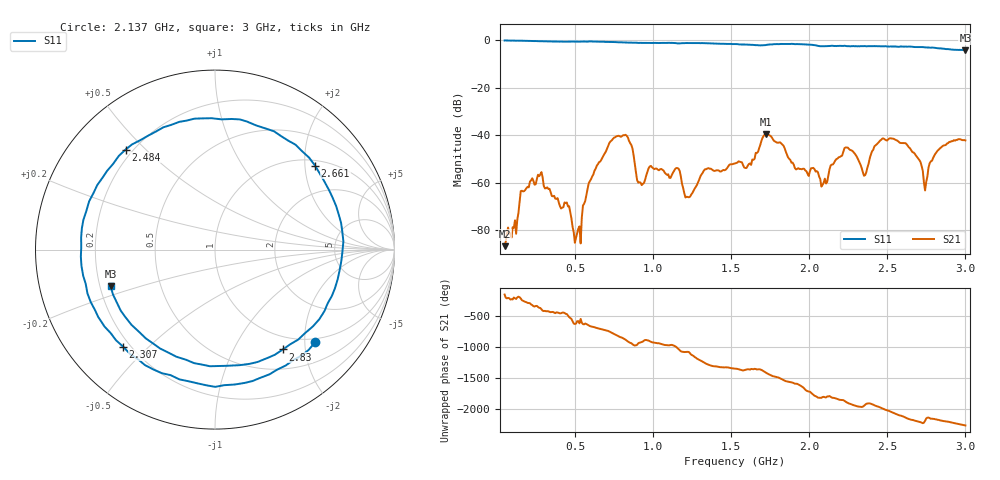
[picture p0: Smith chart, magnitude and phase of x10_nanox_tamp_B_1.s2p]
! nanovna_capture.py 2026-10-18T20:29:15+0900
! NanoVNA-F_V2 fw 0.6.0 SN 4A3639384505514B
! cal: load open short thru cal'ed  over 50000000-3000000000 Hz, 201 points
! points 401, avg 4
! S21: port1 = green ~10 mm H loop (flat, tape), port2 = GSM antenna; modified (implanted) Nano X at position B, placement 1
# HZ S RI R 50
! S12 and S22 are not measured (written as 0)
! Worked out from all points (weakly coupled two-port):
!   401 points, 50 MHz to 3 GHz, reference 50 ohm
!   highest |S21| = -39.46 dB at 1.724 GHz (marker M1); lowest = -86.7 dB at 50 MHz (marker M2)
!   lowest |S11| = -4.2 dB at 3 GHz (marker M3), VSWR 4.22, Z = 12.2 - j8 ohm
!   |S11| at or under -10 dB: nowhere
!   S12 and S22 are empty: the file has one direction only
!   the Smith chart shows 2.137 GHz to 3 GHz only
!   S11 on the Smith chart (normalised r, x): 2.137 GHz: 0.91, -2.23; 2.307 GHz: 0.17, -0.42; 2.484 GHz: 0.17, +0.44; 2.661 GHz: 1.13, +2.26; 2.83 GHz: 0.79, -1.60; 3 GHz: 0.24, -0.16
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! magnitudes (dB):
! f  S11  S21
! 50 MHz  -0.1  -86.7
! 278.6 MHz  -0.4  -56.5
! 499.9 MHz  -0.6  -85.3
! 544.1 MHz  -0.6  -74.8
! 758 MHz  -0.8  -40.9
! 846.5 MHz  -1.0  -42.4
! 912.9 MHz  -1.1  -59.8
! 1.038 GHz  -1.2  -54.8
! 1.156 GHz  -1.3  -53.8
! 1.223 GHz  -1.2  -66.0
! 1.525 GHz  -1.6  -51.9
! 1.724 GHz  -2.0  -39.5
! 2.019 GHz  -1.9  -53.9
! 2.137 GHz  -2.4  -52.8
! 2.307 GHz  -2.6  -49.3
! 2.358 GHz  -2.5  -56.8
! 2.484 GHz  -2.5  -41.7
! 2.513 GHz  -2.7  -41.4
! 2.661 GHz  -2.8  -47.1
! 2.742 GHz  -3.0  -63.3
! 2.83 GHz  -3.4  -46.0
! 3 GHz  -4.2  -42.2
